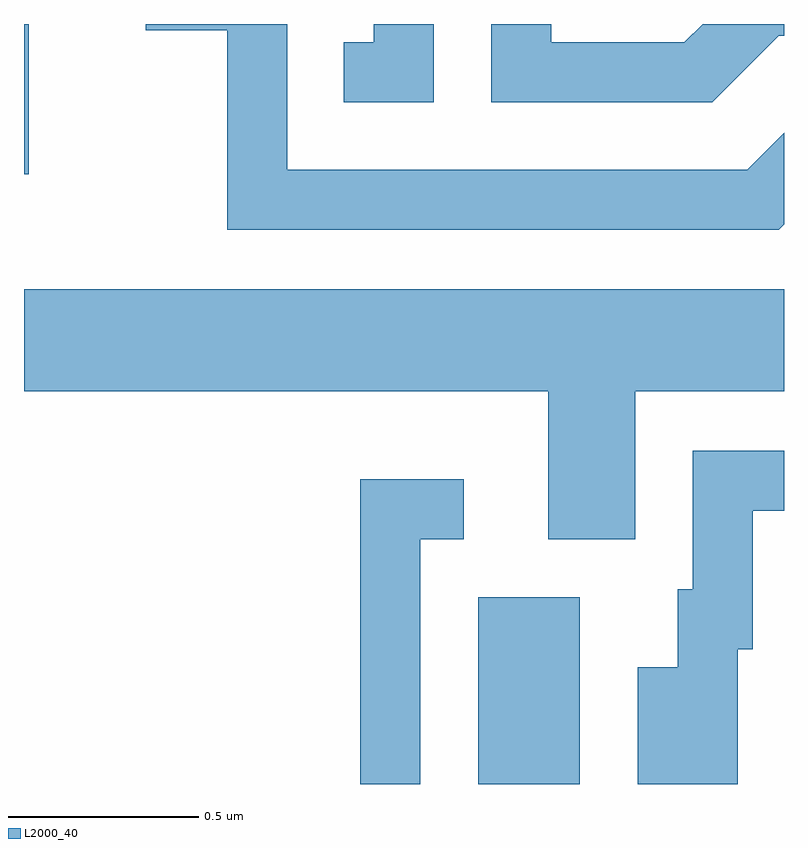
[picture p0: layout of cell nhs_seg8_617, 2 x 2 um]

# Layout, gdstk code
import gdstk
lib = gdstk.Library(unit=1e-6, precision=1e-09)
def R(c, l, rs):  # rectangles x0, y0, x1, y1
    for r in rs: c.add(gdstk.rectangle(r[:2], r[2:], *l))
def P(c, l, *ps):  # polygons
    for p in ps: c.add(gdstk.Polygon(p, *l))
L2000_40 = (2000, 40)

nhs_seg8_617 = lib.new_cell('nhs_seg8_617')
R(nhs_seg8_617, L2000_40, [(190.806,1875.342,191.074,1875.834), (189.611,1876.946,189.624,1877.342)])
P(nhs_seg8_617, L2000_40, [(191.611,1876.815),(191.611,1877.056),(191.514,1876.959),(190.304,1876.959),(190.304,1877.342),(189.931,1877.342),(189.931,1877.326),(190.146,1877.326),(190.146,1876.801),(191.597,1876.801)],
  [(191.597,1877.311),(191.611,1877.311),(191.611,1877.342),(191.397,1877.342),(191.349,1877.294),(190.999,1877.294),(190.999,1877.342),(190.841,1877.342),(190.841,1877.136),(191.422,1877.136)],
  [(190.689,1877.342),(190.531,1877.342),(190.531,1877.294),(190.453,1877.294),(190.453,1877.136),(190.689,1877.136)],
  [(191.219,1876.376),(191.611,1876.376),(191.611,1876.644),(189.611,1876.644),(189.611,1876.376),(190.991,1876.376),(190.991,1875.986),(191.219,1875.986)],
  [(191.489,1875.696),(191.529,1875.696),(191.529,1876.061),(191.611,1876.061),(191.611,1876.219),(191.371,1876.219),(191.371,1875.854),(191.331,1875.854),(191.331,1875.649),(191.226,1875.649),(191.226,1875.342),(191.489,1875.342)],
  [(190.654,1875.986),(190.768,1875.986),(190.768,1876.144),(190.496,1876.144),(190.496,1875.342),(190.654,1875.342)])

lib.write_gds('nhs_seg8_617.gds')
